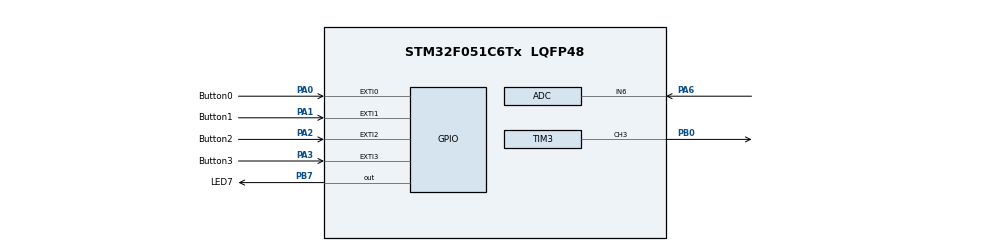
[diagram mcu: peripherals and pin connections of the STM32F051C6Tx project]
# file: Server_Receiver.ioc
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ADC.Resolution=ADC_RESOLUTION_12B
Mcu.Family=STM32F0
Mcu.Name=STM32F051C6Tx
Mcu.Package=LQFP48
PA0.GPIO_Label=Button0
PA0.GPIO_PuPd=GPIO_PULLUP
PA0.Signal=GPXTI0
PA1.GPIO_Label=Button1
PA1.GPIO_PuPd=GPIO_PULLUP
PA1.Signal=GPXTI1
PA13.Mode=Serial_Wire
PA13.Signal=SYS_SWDIO
PA14.Mode=Serial_Wire
PA14.Signal=SYS_SWCLK
PA2.GPIO_Label=Button2
PA2.GPIO_PuPd=GPIO_PULLUP
PA2.Signal=GPXTI2
PA3.GPIO_Label=Button3
PA3.GPIO_PuPd=GPIO_PULLUP
PA3.Signal=GPXTI3
PA6.Mode=IN6
PA6.Signal=ADC_IN6
PB0.Signal=S_TIM3_CH3
PB7.GPIO_Label=LED7
PB7.Signal=GPIO_Output
PF0-OSC_IN.Mode=HSE-External-Oscillator
PF0-OSC_IN.Signal=RCC_OSC_IN
PF1-OSC_OUT.Mode=HSE-External-Oscillator
PF1-OSC_OUT.Signal=RCC_OSC_OUT
ProjectManager.HeapSize=0x200
ProjectManager.StackSize=0x400
ProjectManager.TargetToolchain=STM32CubeIDE
SH.S_TIM3_CH3.0=TIM3_CH3,PWM Generation3 CH3
TIM3.Channel-PWM\ Generation3\ CH3=TIM_CHANNEL_3
TIM3.Period=47999
VP_TIM3_VS_ClockSourceINT.Mode=Internal
board=custom

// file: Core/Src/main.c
/* USER CODE BEGIN Header */
/**
  ******************************************************************************
  * @file           : main.c
  * @brief          : Main program body
  ******************************************************************************
  * @attention
  *
  * Copyright (c) 2023 STMicroelectronics.
  * All rights reserved.
  *
  * This software is licensed under terms that can be found in the LICENSE file
  * in the root directory of this software component.
  * If no LICENSE file comes with this software, it is provided AS-IS.
  *
  ******************************************************************************
  */
/* USER CODE END Header */
#include "main.h"

/* USER CODE BEGIN Includes */
#include <stdio.h>
#include "stm32f0xx.h"
#include <lcd_stm32f0.c>
/* USER CODE END Includes */

ADC_HandleTypeDef hadc;
TIM_HandleTypeDef htim3;

// set the mode for transmission or reception
uint8_t MODE = TRASMIT_MODE; // 0 = sample, 1 = receive

// initialise the samples received and the samples sent
uint32_t samples_received = 0;
uint32_t samples_sent = 0;

/* USER CODE BEGIN PV */

uint32_t ticks_before = 0;
uint32_t ticks_currrent = 0;
uint32_t delay_t = 500; // Initialise delay to 500ms

uint16_t polling_speed = 500; // Poll every 0.5s

uint32_t adc_val;       //Value read from ADC
char adc_string[16];    //Printable string

// protocol functions
void transmit(uint16_t package, char* lcd_print);
void receive();
uint16_t package(uint32_t polledData, uint8_t mode);
int package_valid(uint16_t package);

void transmitting_mode();
void receiving_mode();
/* USER CODE END PV */

void SystemClock_Config(void);
static void MX_GPIO_Init(void);
static void MX_ADC_Init(void);
static void MX_TIM3_Init(void);

/* USER CODE BEGIN PFP */
void EXTI0_1_IRQHandler(void);
void writeLCD(char *char_in);
uint32_t pollADC(void);
uint32_t ADCtoCCR(uint32_t adc_val);
/* USER CODE END PFP */

uint16_t package(uint32_t polledData, uint8_t mode) {
  // create the message in the following format: 1 start bit, 1 mode bit, 12 data bits, 1 even parity bit, 1 stop bit
  uint16_t message = 0;
  uint16_t data = polledData & 0x0FFF; // get the 12 data bits
  uint16_t parity = 0; // parity bit
  uint16_t stop = 1; // stop bit
  uint16_t start = 1; // start bit

  //calculating the parity bit
  for (int i = 0; i < 12; i++) {
    if (data & (1 << i)) {
      parity = !parity;
    }
  }

  message = (start << 15) | (mode << 14) | (data << 2) | (parity << 1) | stop;
  return message;
  // if (mode == SAMPLE_TRANSMIT) {
  // } else if (mode == COUNT_TRANSMIT) {
  //   message = (start << 15) | (mode << 14) | (data << 2) | (parity << 1) | stop;
  // }
}

int package_valid(uint16_t package) {
  // 1. check if the first bit is a 1
  // 2. check if the last bit is a 1
  // 3. check if the parity bit is correct
  // 4. return 1 if all checks pass, 0 otherwise
  uint16_t start = package >> 15;
  uint16_t data = (package >> 2) & 0x0FFF;
  uint16_t parity = (package >> 1) & 0x0001;
  uint16_t stop = package & 0x0001;

  // check if the first bit is a 1
  if (start != 1) {
    return 0;
  }
  // check if the last bit is a 1
  if (stop != 1) {
    return 0;
  }
  // checking parity
  uint16_t parity_check = 0;
  for (int i = 0; i < 12; i++) {
    if (data & (1 << i)) {
      parity_check = !parity_check;
    }
  }
  if (parity_check != parity) {
    return 0;
  }
  return 1;
}

void transmit(uint16_t package, char* lcd_print) {
  // send one bit to signify start of transmission
  lcd_command(CLEAR);
  lcd_putstring("Sending: ");
  lcd_command(LINE_TWO);
  lcd_putstring(lcd_print);

  HAL_GPIO_WritePin(GPIOB, LED6_Pin, GPIO_PIN_SET);
  HAL_GPIO_WritePin(GPIOB, Transmit_Pin, GPIO_PIN_SET);
  HAL_Delay(COMM_DELAY);
  // HAL_GPIO_WritePin(GPIOB, LED6_Pin, GPIO_PIN_RESET);
  // HAL_GPIO_WritePin(GPIOB, Transmit_Pin, GPIO_PIN_RESET);
  // clear LCD

  // transmit the message to the receiver bit by bit in delays of 500 ms
  for (int i = 15; i >= 0; i--) {
    // lcd_command(CLEAR);
    if (package & (1 << i)) {
      // set the transmit pin high
      HAL_GPIO_WritePin(GPIOB, Transmit_Pin, GPIO_PIN_SET);
      HAL_GPIO_WritePin(GPIOB, LED6_Pin, GPIO_PIN_SET);
      // write the bit number and its value to the lcd
      // char bit_string[16];
      // sprintf(bit_string, "Bit: %d = 1", i);
      // lcd_putstring(bit_string);
    } else {
      // set the transmit pin low
      HAL_GPIO_WritePin(GPIOB, Transmit_Pin, GPIO_PIN_RESET);
      HAL_GPIO_WritePin(GPIOB, LED6_Pin, GPIO_PIN_RESET);
      // char bit_string[16];
      // sprintf(bit_string, "Bit: %d = 0", i);
      // lcd_putstring(bit_string);
    }
    HAL_Delay(COMM_DELAY);
  }
}
char *intToString(uint16_t num) {
  // write out the number as a string in binary
  char *bit_string = malloc(16 * sizeof(char));
  for (int i = 0; i < 16; i++) {
    if (num & (1 << i)) {
      bit_string[15 - i] = '1';
    } else {
      bit_string[15 - i] = '0';
    }
  }
  return bit_string;
}
int main(void)
{

  /* MCU Configuration--------------------------------------------------------*/

  /* Reset of all peripherals, Initializes the Flash interface and the Systick. */
  HAL_Init();

  /* Configure the system clock */
  SystemClock_Config();

  /* Initialize all configured peripherals */
  MX_GPIO_Init();
  MX_ADC_Init();
  MX_TIM3_Init();

  /* USER CODE BEGIN 2 */
  init_LCD();

  lcd_putstring("Select mode:");
  lcd_command(LINE_TWO);
  lcd_putstring("SW1:TMT SW2:RCV");

  // infinitely loop until the user presses a button for the mode
  while (1)
  {
    // if button 1 is pressed, set the mode to transmit
    if (HAL_GPIO_ReadPin(GPIOA, Button1_Pin) == GPIO_PIN_RESET) {
      MODE = TRASMIT_MODE;
      break;
    }
    // if button 2 is pressed, set the mode to receive
    if (HAL_GPIO_ReadPin(GPIOA, Button2_Pin) == GPIO_PIN_RESET) {
      MODE = RECEIVE_MODE;
      break;
    }
  }

  lcd_command(CLEAR);
  /* Infinite loop */
  /* USER CODE BEGIN WHILE */
  if (MODE == TRASMIT_MODE) {
    writeLCD("Transmit M");
    HAL_Delay(1000);
    transmitting_mode();
  } else if (MODE == RECEIVE_MODE) {
    writeLCD("Receive M");
    HAL_Delay(1000);
    receiving_mode();
  } else {
    writeLCD("Invalid M");
    HAL_Delay(1000);
  }
}

void sampleAndSend(void) {
  HAL_GPIO_WritePin(GPIOB, LED7_Pin, GPIO_PIN_SET); // Turn on LED7

  // get the value and package it
  uint32_t pollVal = pollADC(); // Read ADC value during polling
  uint16_t message = package(pollVal, SAMPLE_TRANSMIT);

  // write the data to the lcd
  char* bit_string = intToString(message);
  lcd_command(CLEAR); // Clear LCD
  lcd_putstring("Sample TMT:");
  lcd_command(LINE_TWO);
  lcd_putstring(bit_string);

  char* lcd_print = malloc(16 * sizeof(char));
  sprintf(lcd_print, "Sample: %u", pollVal); //Format voltage as string
  // transmit the message
  transmit(message, lcd_print);
  HAL_GPIO_WritePin(GPIOB, LED6_Pin, GPIO_PIN_RESET); // Turn off LED6
  HAL_GPIO_WritePin(GPIOB, Transmit_Pin, GPIO_PIN_RESET); // take the transmit pin low

  samples_sent++;
  // stop transmitting for 2 seconds
  HAL_Delay(2000);
}

void countAndSend(void) {
  HAL_GPIO_WritePin(GPIOB, LED7_Pin, GPIO_PIN_SET); // Turn on LED7

  // get the value and package it
  uint32_t count = samples_sent;
  uint16_t message = package(count, COUNT_TRANSMIT);

  // write the data to the lcd
  char* bit_string = intToString(message);
  lcd_command(CLEAR); // Clear LCD
  lcd_putstring("Count Check:");
  lcd_command(LINE_TWO);
  lcd_putstring(bit_string);

  char* lcd_print = malloc(16 * sizeof(char));
  sprintf(lcd_print, "Count: %u", count); //Format voltage as string
  // transmit the message
  transmit(message, lcd_print);

  HAL_GPIO_WritePin(GPIOB, LED6_Pin, GPIO_PIN_RESET); // Turn off LED6
  HAL_GPIO_WritePin(GPIOB, Transmit_Pin, GPIO_PIN_RESET); // take the transmit pin low
  // stop transmitting for 2 seconds
  HAL_Delay(2000);
}

void transmitting_mode() {
  // PWM setup
  uint32_t CCR = 0;
  HAL_TIM_PWM_Start(&htim3, TIM_CHANNEL_3); // Start PWM on TIM3 Channel 3
  /* USER CODE END 2 */

  while (1)
  {
    // Toggle LED0
    // HAL_GPIO_TogglePin(GPIOB, LED7_Pin);
    // HAL_GPIO_WritePin(GPIOB, LED6_Pin, GPIO_PIN_SET); // Turn on LED6

    // if PB6 pressed, toggle LED7
    if (HAL_GPIO_ReadPin(GPIOA, Button1_Pin) == GPIO_PIN_RESET) {
      sampleAndSend();
      continue;
    }

    if (HAL_GPIO_ReadPin(GPIOA, Button2_Pin) == GPIO_PIN_RESET) {
      countAndSend();
      continue;
    }

    // the idle display showing the value of the potentiometer
    // ADC to LCD; TODO: Read POT1 value and write to LCD
    uint32_t voltage =  pollADC();
    sprintf(adc_string, "Curr Val: %u", voltage); //Format voltage as string

    // write the data to the lcd
    lcd_command(CLEAR);
    lcd_putstring("Sampling");
    lcd_command(LINE_TWO);
    lcd_putstring(adc_string);
    // writeLCD(adc_string);

    // Update PWM value; TODO: Get CCR
    CCR = ADCtoCCR(voltage); //Set CCR to converted value
    __HAL_TIM_SetCompare(&htim3, TIM_CHANNEL_3, CCR);

    // Wait for delay ms
    HAL_Delay (delay_t);
      /* USER CODE END WHILE */

      /* USER CODE BEGIN 3 */
  }
}

void toggleListen(void) {
  // if led7 is on then turn it off and show that the device is not listening
  if (HAL_GPIO_ReadPin(GPIOB, LED7_Pin) == GPIO_PIN_SET) {
    HAL_GPIO_TogglePin(GPIOB, LED7_Pin);
    lcd_command(CLEAR);
    lcd_putstring("Receive Mode:");
    lcd_command(LINE_TWO);
    lcd_putstring("Off");
  } else {
    // if led7 is off then turn it on and show that the device is listening
    HAL_GPIO_TogglePin(GPIOB, LED7_Pin);
    lcd_command(CLEAR);
    lcd_putstring("Receive Mode:");
    lcd_command(LINE_TWO);
    lcd_putstring("Listening...");
  }
}
void receiving_mode() {
  while (1) {
    // do nothing until button 1 is pressed
    while (1)
    {
      if (HAL_GPIO_ReadPin(GPIOA, Button1_Pin) == GPIO_PIN_RESET) {
        toggleListen();
        break;
      }
    }

    // start listening for transmissions
    while (1) {
      // press the button again to stop listening
      if (HAL_GPIO_ReadPin(GPIOA, Button1_Pin) == GPIO_PIN_RESET) {
        toggleListen();
        break;
      }
      // listen if there is a transmission
      // transmission is signified by the LED 6 being on for 1 second
      uint16_t message = 0;
      if (HAL_GPIO_ReadPin(GPIOB, Receive_Pin) == GPIO_PIN_SET) {
        // clear the LCD
        lcd_command(CLEAR);
        lcd_putstring("Receiving...");
        // read the message bit by bit
        for (int i = 15; i >= 0; i--) {
          HAL_Delay(COMM_DELAY);
          if (HAL_GPIO_ReadPin(GPIOB, Receive_Pin) == GPIO_PIN_SET) {
            message |= (1 << i);
          }
        }

        // check if the message is valid
        if (!package_valid(message)) {
          lcd_command(CLEAR);
          lcd_putstring("Invalid message");
          HAL_Delay(2000);
          continue;
        }

        //check the transmission type and deal with it accordingly
        int message_type = (message >> 14) & 0x0001;
        if (message_type == SAMPLE_TRANSMIT) {
          samples_received++;
          // if the message is valid, unpack the message
          uint16_t unpacked_message = (message >> 2) & 0x0FFF;
          char* unpacked_string = malloc(16 * sizeof(char));
          sprintf(unpacked_string, "Sample: %u", unpacked_message); //Format voltage as string
          // writeLCD(unpacked_string);
          // write the data to the lcd
          lcd_command(CLEAR);
          lcd_putstring("Received Value:");
          lcd_command(LINE_TWO);
          lcd_putstring(unpacked_string);
          HAL_Delay(2000);
        }
        else {
          // if the message is valid, unpack the message
          uint16_t unpacked_count = (message >> 2) & 0x0FFF;

          // compare the received count with the sent count
          if (unpacked_count == samples_received) {
            lcd_command(CLEAR);
            lcd_putstring("Count Received");
            lcd_command(LINE_TWO);
            lcd_putstring("Success");
            HAL_Delay(2000);
          } else {
            lcd_command(CLEAR);
            lcd_putstring("Count Received");
            lcd_command(LINE_TWO);
            lcd_putstring("Fail. Updating.");
            samples_received = unpacked_count;
            //flashes LED 7 to show that the count is being updated
            for (int i = 0; i < 8; i++) {
              HAL_GPIO_TogglePin(GPIOB, LED7_Pin);
              HAL_Delay(COMM_DELAY/8);
            }
            // HAL_Delay(2000);
          }
        }
        // // put in line two LCD that the device is actively listening
        // lcd_command(CLEAR);
        // lcd_putstring("Receive M");
        // lcd_command(LINE_TWO);
        // lcd_putstring("Listening...");
      }
    }
  }
}
void SystemClock_Config(void)
{
  LL_FLASH_SetLatency(LL_FLASH_LATENCY_0);
  while(LL_FLASH_GetLatency() != LL_FLASH_LATENCY_0)
  {
  }
  LL_RCC_HSI_Enable();

   /* Wait till HSI is ready */
  while(LL_RCC_HSI_IsReady() != 1)
  {

  }
  LL_RCC_HSI_SetCalibTrimming(16);
  LL_RCC_HSI14_Enable();

   /* Wait till HSI14 is ready */
  while(LL_RCC_HSI14_IsReady() != 1)
  {

  }
  LL_RCC_HSI14_SetCalibTrimming(16);
  LL_RCC_SetAHBPrescaler(LL_RCC_SYSCLK_DIV_1);
  LL_RCC_SetAPB1Prescaler(LL_RCC_APB1_DIV_1);
  LL_RCC_SetSysClkSource(LL_RCC_SYS_CLKSOURCE_HSI);

   /* Wait till System clock is ready */
  while(LL_RCC_GetSysClkSource() != LL_RCC_SYS_CLKSOURCE_STATUS_HSI)
  {

  }
  LL_SetSystemCoreClock(8000000);

   /* Update the time base */
  if (HAL_InitTick (TICK_INT_PRIORITY) != HAL_OK)
  {
    Error_Handler();
  }
  LL_RCC_HSI14_EnableADCControl();
}

static void MX_ADC_Init(void)
{

  ADC_ChannelConfTypeDef sConfig = {0};

  /** Configure the global features of the ADC (Clock, Resolution, Data Alignment and number of conversion)
  */
  hadc.Instance = ADC1;
  hadc.Init.ClockPrescaler = ADC_CLOCK_ASYNC_DIV1;
  hadc.Init.Resolution = ADC_RESOLUTION_12B;
  hadc.Init.DataAlign = ADC_DATAALIGN_RIGHT;
  hadc.Init.ScanConvMode = ADC_SCAN_DIRECTION_FORWARD;
  hadc.Init.EOCSelection = ADC_EOC_SINGLE_CONV;
  hadc.Init.LowPowerAutoWait = DISABLE;
  hadc.Init.LowPowerAutoPowerOff = DISABLE;
  hadc.Init.ContinuousConvMode = DISABLE;
  hadc.Init.DiscontinuousConvMode = DISABLE;
  hadc.Init.ExternalTrigConv = ADC_SOFTWARE_START;
  hadc.Init.ExternalTrigConvEdge = ADC_EXTERNALTRIGCONVEDGE_NONE;
  hadc.Init.DMAContinuousRequests = DISABLE;
  hadc.Init.Overrun = ADC_OVR_DATA_PRESERVED;
  if (HAL_ADC_Init(&hadc) != HAL_OK)
  {
    Error_Handler();
  }

  /** Configure for the selected ADC regular channel to be converted.
  */
  sConfig.Channel = ADC_CHANNEL_6;
  sConfig.Rank = ADC_RANK_CHANNEL_NUMBER;
  sConfig.SamplingTime = ADC_SAMPLETIME_1CYCLE_5;
  if (HAL_ADC_ConfigChannel(&hadc, &sConfig) != HAL_OK)
  {
    Error_Handler();
  }
  /* USER CODE BEGIN ADC_Init 2 */
  ADC1->CR |= ADC_CR_ADCAL;
  while(ADC1->CR & ADC_CR_ADCAL);			// Calibrate the ADC
  ADC1->CR |= (1 << 0);						// Enable ADC
  while((ADC1->ISR & (1 << 0)) == 0);		// Wait for ADC ready
  /* USER CODE END ADC_Init 2 */

}

static void MX_TIM3_Init(void)
{

  TIM_ClockConfigTypeDef sClockSourceConfig = {0};
  TIM_MasterConfigTypeDef sMasterConfig = {0};
  TIM_OC_InitTypeDef sConfigOC = {0};

  htim3.Instance = TIM3;
  htim3.Init.Prescaler = 0;
  htim3.Init.CounterMode = TIM_COUNTERMODE_UP;
  htim3.Init.Period = 47999;
  htim3.Init.ClockDivision = TIM_CLOCKDIVISION_DIV1;
  htim3.Init.AutoReloadPreload = TIM_AUTORELOAD_PRELOAD_DISABLE;
  if (HAL_TIM_Base_Init(&htim3) != HAL_OK)
  {
    Error_Handler();
  }
  sClockSourceConfig.ClockSource = TIM_CLOCKSOURCE_INTERNAL;
  if (HAL_TIM_ConfigClockSource(&htim3, &sClockSourceConfig) != HAL_OK)
  {
    Error_Handler();
  }
  if (HAL_TIM_PWM_Init(&htim3) != HAL_OK)
  {
    Error_Handler();
  }
  sMasterConfig.MasterOutputTrigger = TIM_TRGO_RESET;
  sMasterConfig.MasterSlaveMode = TIM_MASTERSLAVEMODE_DISABLE;
  if (HAL_TIMEx_MasterConfigSynchronization(&htim3, &sMasterConfig) != HAL_OK)
  {
    Error_Handler();
  }
  sConfigOC.OCMode = TIM_OCMODE_PWM1;
  sConfigOC.Pulse = 0;
  sConfigOC.OCPolarity = TIM_OCPOLARITY_HIGH;
  sConfigOC.OCFastMode = TIM_OCFAST_DISABLE;
  if (HAL_TIM_PWM_ConfigChannel(&htim3, &sConfigOC, TIM_CHANNEL_3) != HAL_OK)
  {
    Error_Handler();
  }
  HAL_TIM_MspPostInit(&htim3);

}

static void MX_GPIO_Init(void)
{
  LL_EXTI_InitTypeDef EXTI_InitStruct = {0};
  LL_GPIO_InitTypeDef GPIO_InitStruct = {0};

  /* GPIO Ports Clock Enable */
  LL_AHB1_GRP1_EnableClock(LL_AHB1_GRP1_PERIPH_GPIOF);
  LL_AHB1_GRP1_EnableClock(LL_AHB1_GRP1_PERIPH_GPIOA);
  LL_AHB1_GRP1_EnableClock(LL_AHB1_GRP1_PERIPH_GPIOB);

  /**/
  LL_GPIO_ResetOutputPin(LED7_GPIO_Port, LED7_Pin);
  LL_GPIO_ResetOutputPin(LED6_GPIO_Port, LED6_Pin);

  /**/
  LL_SYSCFG_SetEXTISource(LL_SYSCFG_EXTI_PORTA, LL_SYSCFG_EXTI_LINE0);

  /**/
  LL_GPIO_SetPinPull(Button0_GPIO_Port, Button0_Pin, LL_GPIO_PULL_UP);

  /**/
  LL_GPIO_SetPinMode(Button0_GPIO_Port, Button0_Pin, LL_GPIO_MODE_INPUT);

  /**/
  EXTI_InitStruct.Line_0_31 = LL_EXTI_LINE_0;
  EXTI_InitStruct.LineCommand = ENABLE;
  EXTI_InitStruct.Mode = LL_EXTI_MODE_IT;
  EXTI_InitStruct.Trigger = LL_EXTI_TRIGGER_RISING;
  LL_EXTI_Init(&EXTI_InitStruct);

  /**/
  GPIO_InitStruct.Pin = Button1_Pin;
  GPIO_InitStruct.Mode = LL_GPIO_MODE_INPUT;
  GPIO_InitStruct.Pull = LL_GPIO_PULL_UP;
  LL_GPIO_Init(Button1_GPIO_Port, &GPIO_InitStruct);

  /**/
  GPIO_InitStruct.Pin = Button2_Pin;
  GPIO_InitStruct.Mode = LL_GPIO_MODE_INPUT;
  GPIO_InitStruct.Pull = LL_GPIO_PULL_UP;
  LL_GPIO_Init(Button2_GPIO_Port, &GPIO_InitStruct);
  /**/
  GPIO_InitStruct.Pin = LED7_Pin;
  GPIO_InitStruct.Mode = LL_GPIO_MODE_OUTPUT;
  GPIO_InitStruct.Speed = LL_GPIO_SPEED_FREQ_LOW;
  GPIO_InitStruct.OutputType = LL_GPIO_OUTPUT_PUSHPULL;
  GPIO_InitStruct.Pull = LL_GPIO_PULL_NO;
  LL_GPIO_Init(LED7_GPIO_Port, &GPIO_InitStruct);

  /**/
  GPIO_InitStruct.Pin = LED6_Pin;
  GPIO_InitStruct.Mode = LL_GPIO_MODE_OUTPUT;
  GPIO_InitStruct.Speed = LL_GPIO_SPEED_FREQ_LOW;
  GPIO_InitStruct.OutputType = LL_GPIO_OUTPUT_PUSHPULL;
  GPIO_InitStruct.Pull = LL_GPIO_PULL_NO; //
  LL_GPIO_Init(LED6_GPIO_Port, &GPIO_InitStruct);

  /**/
  GPIO_InitStruct.Pin = Transmit_Pin;
  GPIO_InitStruct.Mode = LL_GPIO_MODE_OUTPUT;
  GPIO_InitStruct.Speed = LL_GPIO_SPEED_FREQ_LOW;
  GPIO_InitStruct.OutputType = LL_GPIO_OUTPUT_PUSHPULL;
  GPIO_InitStruct.Pull = LL_GPIO_PULL_NO; //
  LL_GPIO_Init(Transmit_GPIO_Port, &GPIO_InitStruct);

  /**/
  GPIO_InitStruct.Pin = Receive_Pin;
  GPIO_InitStruct.Mode = LL_GPIO_MODE_INPUT;
  GPIO_InitStruct.Pull = LL_GPIO_PULL_NO; //
  LL_GPIO_Init(Receive_GPIO_Port, &GPIO_InitStruct);

/* USER CODE BEGIN MX_GPIO_Init_2 */
  HAL_NVIC_SetPriority(EXTI0_1_IRQn, 0, 0);
  HAL_NVIC_EnableIRQ(EXTI0_1_IRQn);
/* USER CODE END MX_GPIO_Init_2 */
}

/* USER CODE BEGIN 4 */
void EXTI0_1_IRQHandler(void)
{

	// TODO: Add code to switch LED7 delay frequency
  if (HAL_GetTick() - ticks_before < 500) { // If button pressed within 0.5s
    HAL_GPIO_EXTI_IRQHandler(Button0_Pin);
    return;
  } else {
    ticks_before = HAL_GetTick(); // Update ticks_before
  }

	HAL_GPIO_EXTI_IRQHandler(Button0_Pin); // Clear interrupt flags
}

// TODO: Complete the writeLCD function
void writeLCD(char *char_in){
  delay(3000);
	lcd_command(CLEAR);
	lcd_putstring(char_in); //Write input string to the LCD
}

// Get ADC value
uint32_t pollADC(void){
  // TODO: Complete function body to get ADC val
  HAL_ADC_Start(&hadc);
  HAL_ADC_PollForConversion(&hadc, polling_speed); //Poll ADC every 500ms
  uint32_t value = HAL_ADC_GetValue(&hadc);
	HAL_ADC_Stop(&hadc); //Stop ADC after getting value
  return value;
}

// Calculate PWM CCR value
uint32_t ADCtoCCR(uint32_t adc_val){
  // TODO: Calculate CCR val using an appropriate equation
	uint32_t val = adc_val * (47999/4096);  // CCR = ADC * (ARR/levels)
	return val;
}

void ADC1_COMP_IRQHandler(void)
{
	adc_val = HAL_ADC_GetValue(&hadc); // Read ADC value during polling
	HAL_ADC_IRQHandler(&hadc); //Clear flags
}
/* USER CODE END 4 */

void Error_Handler(void)
{
  __disable_irq();
  while (1)
  {
  }
}
